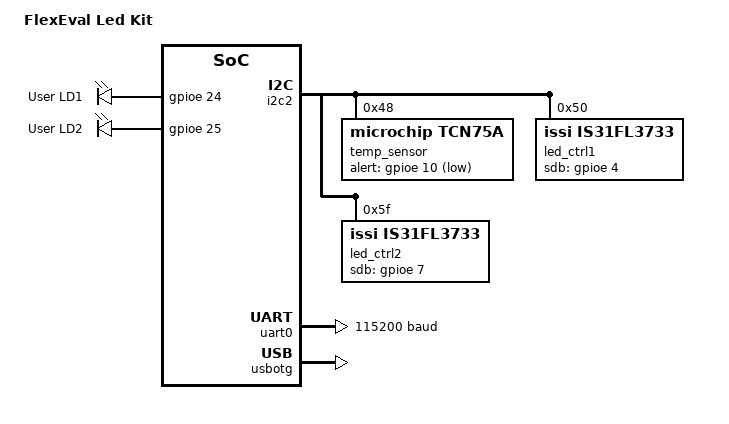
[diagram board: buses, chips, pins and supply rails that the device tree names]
/*
 * Copyright 2022 Daniel DeGrasse
 *
 * SPDX-License-Identifier: Apache-2.0
 */

/dts-v1/;

#include <zephyr/dt-bindings/gpio/gpio.h>
#include <nxp/nxp_k22fxq512.dtsi>

#include "flexeval-pinctrl.dtsi"

/ {
	model = "FlexEval Led Kit";
	compatible = "flexeval";

	aliases {
		led0 = &green_led;
		led1 = &red_led;
	};

	chosen {
		zephyr,sram = &sram0;
		zephyr,flash = &flash0;
		zephyr,console = &uart0;
		zephyr,shell-uart = &uart0;
		zephyr,uart-pipe = &uart0;
	};

	leds {
		compatible = "gpio-leds";
		green_led: led_0 {
			gpios = <&gpioe 24 0>;
			label = "User LD1";
		};
		red_led: led_1 {
			gpios = <&gpioe 25 0>;
			label = "User LD2";
		};
	};
};

&i2c2 {
	status = "okay";
	pinctrl-0 = <&i2c2_default>;
	pinctrl-names = "default";
	temp_sensor: tcn75a@48 {
		reg = <0x48>;
		compatible = "microchip,tcn75a";
		alert-gpios = <&gpioe 10 (GPIO_ACTIVE_LOW | GPIO_PULL_UP)>;
	};
	led_ctrl1: is31fl3733@50 {
		reg = <0x50>;
		compatible = "issi,is31fl3733";
		sdb-gpios = <&gpioe 4 GPIO_ACTIVE_HIGH>;
		abm-ramp-up = <560>;
		abm-ramp-down = <560>;
	};
	led_ctrl2: is31fl3733@5f {
		reg = <0x5F>;
		compatible = "issi,is31fl3733";
		sdb-gpios = <&gpioe 7 GPIO_ACTIVE_HIGH>;
		abm-ramp-up = <50>;
		abm-ramp-down = <50>;
	};
};

&sim {
	pllfll-select = <KINETIS_SIM_PLLFLLSEL_MCGPLLCLK>;
	er32k-select = <KINETIS_SIM_ER32KSEL_RTC>;
};

&uart0 {
	status = "okay";
	current-speed = <115200>;
	pinctrl-0 = <&uart0_default>;
	pinctrl-names = "default";
};

&gpioe {
	status = "okay";
};

zephyr_udc0: &usbotg {
	compatible = "nxp,kinetis-usbd";
	status = "okay";
	num-bidir-endpoints = <8>;
};

&flash0 {
	partitions {
		compatible = "fixed-partitions";
		#address-cells = <1>;
		#size-cells = <1>;

		boot_partition: partition@0 {
			label = "mcuboot";
			reg = <0x00000000 0x00010000>;
			read-only;
		};
		slot0_partition: partition@10000 {
			label = "image-0";
			reg = <0x00010000 0x00020000>;
		};
		slot1_partition: partition@30000 {
			label = "image-1";
			reg = <0x00030000 0x00020000>;
		};
		scratch_partition: partition@50000 {
			label = "image-scratch";
			reg = <0x00050000 0x00010000>;
		};

		/*
		 * The flash starting at 0x00060000 and ending at
		 * 0x0007ffff (sectors 16-31) is reserved for use
		 * by the application.
		 */
		storage_partition: partition@60000 {
			label = "storage";
			reg = <0x00060000 0x00020000>;
		};

	};
};
